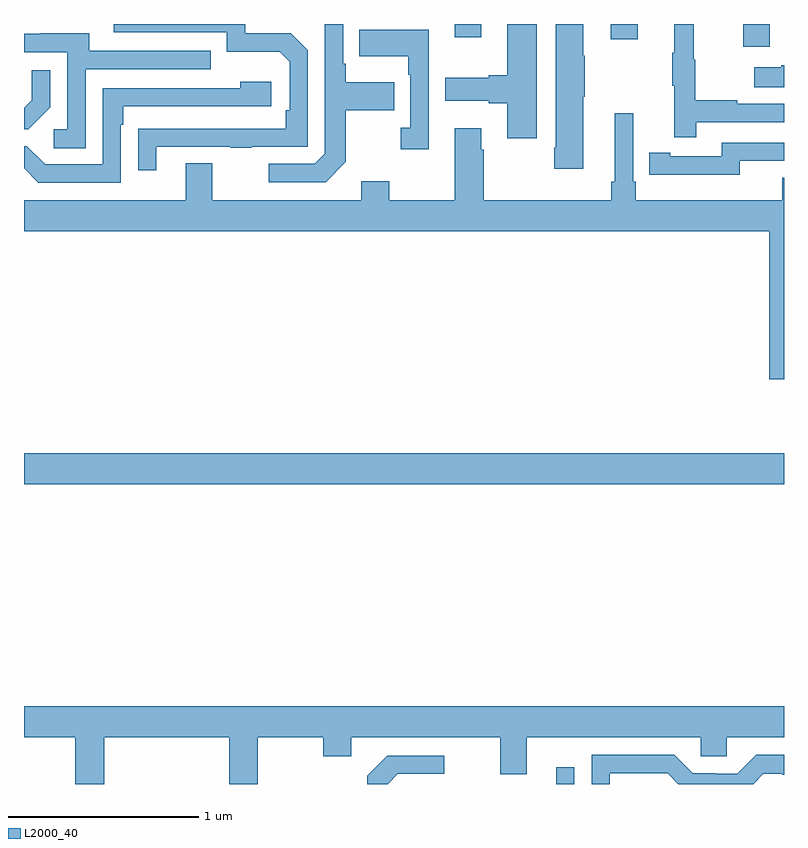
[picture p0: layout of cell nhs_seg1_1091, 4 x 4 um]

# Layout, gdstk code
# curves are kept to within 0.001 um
import gdstk
lib = gdstk.Library(unit=1e-6, precision=1e-09)
def R(c, l, rs):  # rectangles x0, y0, x1, y1
    for r in rs: c.add(gdstk.rectangle(r[:2], r[2:], *l))
def P(c, l, *ps):  # polygons
    for p in ps: c.add(gdstk.Polygon(p, *l))
L2000_40 = (2000, 40)

nhs_seg1_1091 = lib.new_cell('nhs_seg1_1091')
R(nhs_seg1_1091, L2000_40, [(173.801,506.199,173.897,506.287), (171,507.776,175,507.94), (174.785,510.078,174.925,510.199), (174.089,510.12,174.229,510.199), (173.267,510.129,173.407,510.199)])
P(nhs_seg1_1091, L2000_40, [(173.944,509.815),(173.952,509.815),(173.952,510.032),(173.944,510.032),(173.944,510.199),(173.798,510.199),(173.798,509.548),(173.791,509.548),(173.791,509.436),(173.944,509.436)],
  [(174.539,509.682),(175,509.682),(175,509.778),(174.755,509.778),(174.755,509.798),(174.532,509.798),(174.532,510.012),(174.524,510.012),(174.524,510.199),(174.422,510.199),(174.422,510.049),(174.411,510.049),(174.411,509.875),(174.422,509.875),(174.422,509.604),(174.539,509.604)],
  [(173.698,510.199),(173.543,510.199),(173.543,509.93),(173.447,509.93),(173.447,509.917),(173.217,509.917),(173.217,509.795),(173.447,509.795),(173.447,509.783),(173.543,509.783),(173.543,509.598),(173.698,509.598)],
  [(171.697,509.553),(172.087,509.553),(172.087,509.548),(172.199,509.548),(172.199,509.553),(172.494,509.553),(172.494,510.06),(172.404,510.15),(172.164,510.15),(172.164,510.199),(171.473,510.199),(171.473,510.156),(172.068,510.156),(172.068,510.053),(172.345,510.053),(172.398,510),(172.398,509.746),(172.378,509.746),(172.378,509.649),(171.601,509.648),(171.601,509.43),(171.697,509.43)],
  [(172.693,509.473),(172.693,509.746),(172.949,509.746),(172.949,509.893),(172.693,509.893),(172.693,509.989),(172.68,509.989),(172.68,510.199),(172.583,510.199),(172.584,509.517),(172.53,509.463),(172.287,509.463),(172.287,509.367),(172.587,509.367)],
  [(173.13,510.169),(172.765,510.169),(172.765,510.029),(173.022,510.029),(173.022,509.933),(173.034,509.933),(173.034,509.654),(172.983,509.654),(172.983,509.541),(173.13,509.541)],
  [(171.324,509.961),(171.983,509.961),(171.983,510.057),(171.343,510.057),(171.343,510.151),(171.089,510.151),(171.089,510.147),(171,510.147),(171,510.051),(171.228,510.051),(171.228,509.646),(171.156,509.646),(171.156,509.545),(171.324,509.545)],
  [(175,509.981),(174.986,509.981),(174.986,509.971),(174.843,509.971),(174.843,509.867),(175,509.867)],
  [(171.138,509.762),(171.138,509.956),(171.041,509.956),(171.041,509.799),(171,509.758),(171,509.646),(171.022,509.646)],
  [(171.51,509.669),(171.523,509.669),(171.523,509.766),(172.3,509.766),(172.3,509.896),(172.139,509.896),(172.139,509.862),(171.414,509.862),(171.414,509.46),(171.111,509.46),(171.015,509.556),(171,509.556),(171,509.439),(171.075,509.364),(171.51,509.364)],
  [(175,509.389),(174.992,509.389),(174.992,509.272),(174.221,509.272),(174.221,509.368),(174.207,509.368),(174.207,509.728),(174.11,509.728),(174.11,509.368),(174.091,509.368),(174.091,509.272),(173.42,509.272),(173.42,509.537),(173.407,509.537),(173.407,509.65),(173.267,509.65),(173.267,509.272),(172.923,509.272),(172.923,509.371),(172.775,509.371),(172.775,509.272),(171.991,509.272),(171.991,509.467),(171.851,509.467),(171.851,509.272),(171,509.272),(171,509.108),(174.923,509.108),(174.923,508.329),(175,508.329)],
  [(174.768,509.478),(175,509.478),(175,509.574),(174.672,509.574),(174.672,509.502),(174.4,509.502),(174.4,509.522),(174.292,509.522),(174.292,509.406),(174.4,509.406),(174.4,509.405),(174.768,509.405)],
  [(171.422,506.444),(172.079,506.444),(172.079,506.199),(172.231,506.199),(172.231,506.444),(172.576,506.444),(172.576,506.345),(172.723,506.345),(172.723,506.444),(173.507,506.444),(173.507,506.25),(173.647,506.25),(173.647,506.444),(174.561,506.444),(174.561,506.346),(174.699,506.346),(174.699,506.444),(175,506.444),(175,506.608),(171,506.608),(171,506.444),(171.269,506.444),(171.269,506.199),(171.422,506.199)],
  [(174.084,506.256),(174.387,506.256),(174.444,506.199),(174.837,506.199),(174.891,506.253),(174.991,506.253),(174.991,506.249),(175,506.249),(175,506.353),(174.853,506.353),(174.753,506.253),(174.638,506.253),(174.638,506.256),(174.519,506.256),(174.423,506.352),(173.988,506.352),(173.988,506.199),(174.084,506.199)],
  [(172.968,506.253),(173.212,506.253),(173.212,506.349),(172.911,506.349),(172.806,506.243),(172.806,506.199),(172.914,506.199)])

lib.write_gds('nhs_seg1_1091.gds')
